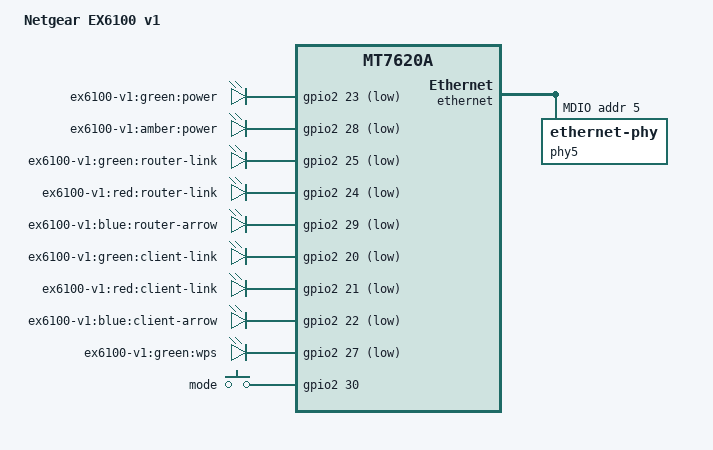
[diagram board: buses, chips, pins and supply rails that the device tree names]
// SPDX-License-Identifier: GPL-2.0-or-later OR MIT

/dts-v1/;

#include "mt7620a_netgear_ex3700_ex6130.dtsi"

/ {
	compatible = "netgear,ex6100-v1", "ralink,mt7620a-soc";
	model = "Netgear EX6100 v1";

	aliases {
		led-boot = &led_power_amber;
		led-failsafe = &led_power_amber;
		led-running = &led_power_green;
		led-upgrade = &led_power_amber;
		label-mac-device = &ethernet;
	};

	leds {
		compatible = "gpio-leds";

		led_power_green: power_green {
			label = "ex6100-v1:green:power";
			gpios = <&gpio2 23 GPIO_ACTIVE_LOW>;
		};

		led_power_amber: power_amber {
			label = "ex6100-v1:amber:power";
			gpios = <&gpio2 28 GPIO_ACTIVE_LOW>;
		};

		router_link_green {
			label = "ex6100-v1:green:router-link";
			gpios = <&gpio2 25 GPIO_ACTIVE_LOW>;
		};

		router_link_red {
			label = "ex6100-v1:red:router-link";
			gpios = <&gpio2 24 GPIO_ACTIVE_LOW>;
		};

		router_arrow {
			label = "ex6100-v1:blue:router-arrow";
			gpios = <&gpio2 29 GPIO_ACTIVE_LOW>;
		};

		client_link_green {
			label = "ex6100-v1:green:client-link";
			gpios = <&gpio2 20 GPIO_ACTIVE_LOW>;
		};

		client_link_red {
			label = "ex6100-v1:red:client-link";
			gpios = <&gpio2 21 GPIO_ACTIVE_LOW>;
		};

		client_arrow {
			label = "ex6100-v1:blue:client-arrow";
			gpios = <&gpio2 22 GPIO_ACTIVE_LOW>;
		};

		wps {
			label = "ex6100-v1:green:wps";
			gpios = <&gpio2 27 GPIO_ACTIVE_LOW>;
		};
	};
};

&keys {
	mode {
		label = "mode";
		linux,code = <BTN_0>;
		linux,input-type = <EV_SW>;
		gpios = <&gpio2 30 GPIO_ACTIVE_HIGH>;
	};
};

&ethernet {
	pinctrl-names = "default";
	pinctrl-0 = <&rgmii1_pins &mdio_pins>;

	port@5 {
		status = "okay";
		phy-handle = <&phy5>;
		phy-mode = "rgmii";
	};

	mdio-bus {
		status = "okay";

		phy5: ethernet-phy@5 {
			reg = <5>;
			phy-mode = "rgmii";
		};
	};
};

&gsw {
	mediatek,port5 = "gmac";
};
